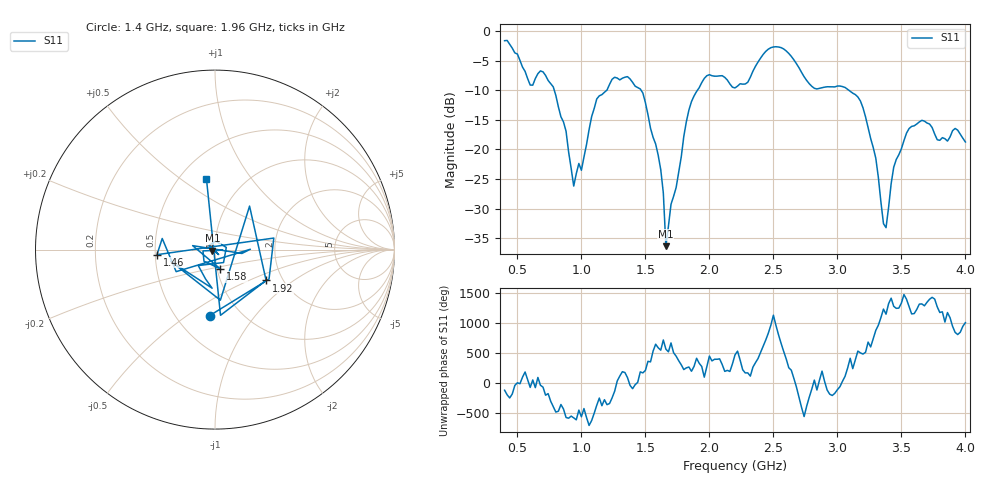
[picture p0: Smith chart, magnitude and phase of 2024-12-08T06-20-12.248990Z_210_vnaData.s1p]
!Created with skrf (http://scikit-rf.org).
# Hz S RI R 50.0
!freq ReS11 ImS11
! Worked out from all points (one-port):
!   181 points, 400 MHz to 4 GHz, reference 50 ohm
!   lowest |S11| = -36.4 dB at 1.66 GHz (marker M1), VSWR 1.03, Z = 48.6 - j0.572 ohm
!   |S11| at or under -10 dB: 788.3 MHz to 1.198 GHz (409.5 MHz wide, 41.2 % of centre); 1.467 GHz to 1.906 GHz (439.2 MHz wide, 26 % of centre); 3.09 GHz to end of sweep
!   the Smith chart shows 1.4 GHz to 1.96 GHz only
!   S11 on the Smith chart (normalised r, x): 1.4 GHz: 0.72, -0.62; 1.46 GHz: 0.51, -0.03; 1.58 GHz: 1.04, -0.23; 1.92 GHz: 1.64, -0.64; 1.96 GHz: 0.67, +0.63
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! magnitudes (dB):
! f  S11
! 400 MHz  -1.6
! 600 MHz  -9.1
! 700 MHz  -6.9
! 860 MHz  -15.3
! 940 MHz  -26.2
! 1.12 GHz  -11.5
! 1.3 GHz  -8.2
! 1.4 GHz  -8.7
! 1.46 GHz  -9.8
! 1.58 GHz  -19.1
! 1.64 GHz  -27.4
! 1.66 GHz  -36.4
! 1.76 GHz  -23.9
! 1.84 GHz  -13.3
! 1.92 GHz  -9.6
! 1.96 GHz  -8.0
! 2.2 GHz  -9.6
! 2.48 GHz  -2.8
! 2.66 GHz  -4.8
! 2.82 GHz  -9.7
! 3.1 GHz  -10.2
! 3.22 GHz  -14.5
! 3.3 GHz  -21.5
! 3.36 GHz  -32.5
! 3.38 GHz  -33.2
! 3.44 GHz  -23.0
! 3.56 GHz  -16.5
! 4 GHz  -18.7
